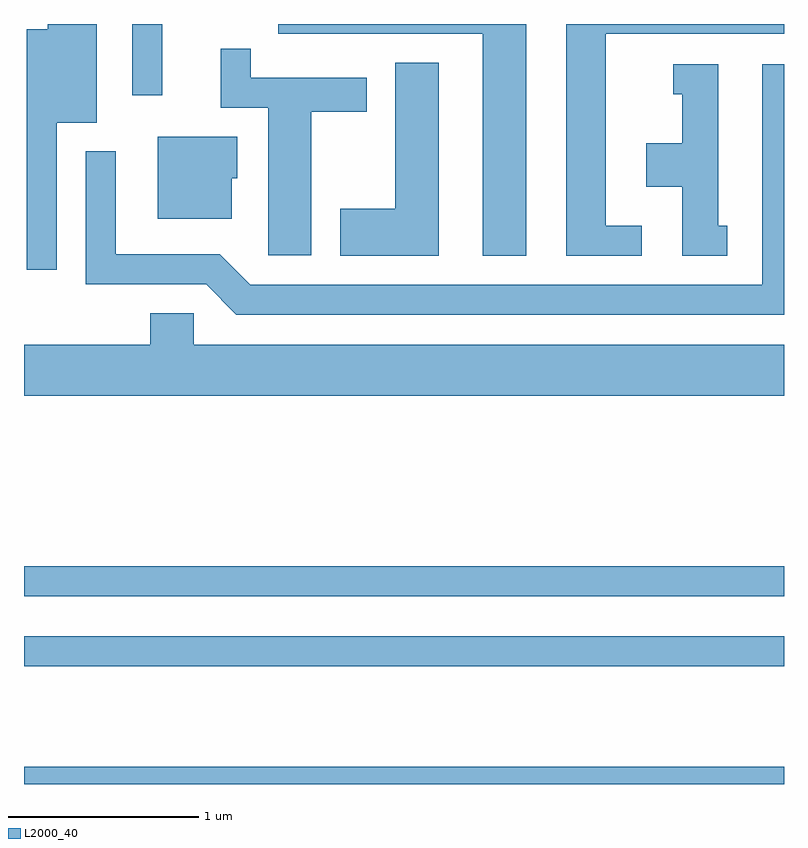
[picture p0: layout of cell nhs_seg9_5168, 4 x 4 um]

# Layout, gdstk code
import gdstk
lib = gdstk.Library(unit=1e-6, precision=1e-09)
def R(c, l, rs):  # rectangles x0, y0, x1, y1
    for r in rs: c.add(gdstk.rectangle(r[:2], r[2:], *l))
def P(c, l, *ps):  # polygons
    for p in ps: c.add(gdstk.Polygon(p, *l))
L2000_40 = (2000, 40)

nhs_seg9_5168 = lib.new_cell('nhs_seg9_5168')
R(nhs_seg9_5168, L2000_40, [(337.611,1996.432,341.611,1996.524), (337.611,1997.051,341.611,1997.209), (337.611,1997.421,341.611,1997.579), (338.181,2000.058,338.339,2000.432)])
P(nhs_seg9_5168, L2000_40, [(340.863,1999.369),(340.674,1999.369),(340.674,2000.381),(341.611,2000.381),(341.611,2000.432),(340.466,2000.432),(340.466,1999.211),(340.863,1999.211)],
  [(337.784,1999.911),(337.994,1999.911),(337.994,2000.432),(337.736,2000.432),(337.736,2000.404),(337.626,2000.404),(337.626,1999.138),(337.784,1999.138)],
  [(340.254,2000.432),(338.948,2000.432),(338.948,2000.381),(340.026,2000.381),(340.026,1999.211),(340.254,1999.211)],
  [(339.124,1999.971),(339.414,1999.971),(339.414,2000.149),(338.804,2000.149),(338.804,2000.303),(338.646,2000.303),(338.646,1999.991),(338.896,1999.991),(338.896,1999.216),(339.124,1999.216)],
  [(339.794,2000.229),(339.566,2000.229),(339.566,1999.459),(339.276,1999.459),(339.276,1999.211),(339.794,1999.211)],
  [(341.313,1999.369),(341.264,1999.369),(341.264,2000.219),(341.028,2000.219),(341.028,2000.061),(341.076,2000.061),(341.076,1999.804),(340.886,1999.804),(340.886,1999.576),(341.076,1999.576),(341.076,1999.211),(341.313,1999.211)],
  [(341.611,2000.219),(341.496,2000.219),(341.496,1999.059),(338.802,1999.059),(338.642,1999.219),(338.094,1999.219),(338.094,1999.763),(337.936,1999.763),(337.936,1999.061),(338.569,1999.061),(338.729,1998.901),(341.611,1998.901)],
  [(338.704,1999.621),(338.734,1999.621),(338.734,1999.839),(338.316,1999.839),(338.316,1999.406),(338.704,1999.406)],
  [(341.611,1998.744),(338.504,1998.744),(338.504,1998.909),(338.276,1998.909),(338.276,1998.744),(337.611,1998.744),(337.611,1998.476),(341.611,1998.476)])

lib.write_gds('nhs_seg9_5168.gds')
